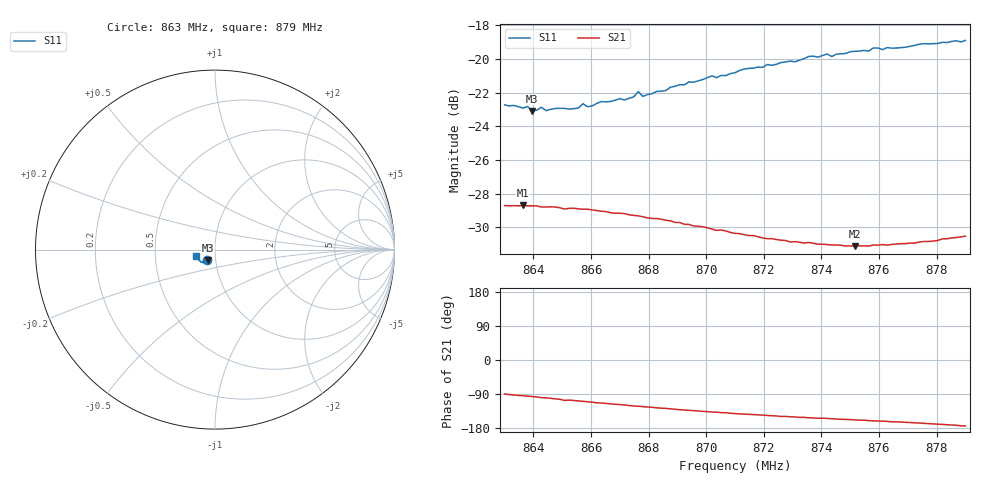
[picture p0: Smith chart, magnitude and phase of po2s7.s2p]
# HZ S RI R 50
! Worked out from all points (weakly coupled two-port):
!   101 points, 863 MHz to 879 MHz, reference 50 ohm
!   highest |S21| = -28.70 dB at 863.64 MHz (marker M1); lowest = -31.1 dB at 875.16 MHz (marker M2)
!   lowest |S11| = -23.1 dB at 863.96 MHz (marker M3), VSWR 1.15, Z = 46 - j5.39 ohm
!   |S11| at or under -10 dB: start of sweep to end of sweep
!   S12 and S22 are empty: the file has one direction only
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8.63e8  -0.0426 -0.0594  0.000206 -0.0367  0 0  0 0
8.6364e8  -0.041 -0.0586  -0.00267 -0.0366  0 0  0 0
8.638e8  -0.041 -0.0595  -0.00351 -0.0365  0 0  0 0
8.6396e8  -0.0389 -0.0583  -0.00406 -0.0364  0 0  0 0
8.6428e8  -0.0387 -0.0607  -0.0059 -0.0359  0 0  0 0
8.6444e8  -0.0379 -0.0592  -0.00622 -0.0358  0 0  0 0
8.6556e8  -0.0373 -0.061  -0.0111 -0.0341  0 0  0 0
8.6572e8  -0.0375 -0.0634  -0.0118 -0.0338  0 0  0 0
8.6588e8  -0.0365 -0.0623  -0.0123 -0.0336  0 0  0 0
8.6636e8  -0.0383 -0.0642  -0.0141 -0.0324  0 0  0 0
8.6716e8  -0.0369 -0.066  -0.0166 -0.0305  0 0  0 0
8.6748e8  -0.0379 -0.0673  -0.0179 -0.0293  0 0  0 0
8.6764e8  -0.0399 -0.0694  -0.0182 -0.029  0 0  0 0
8.678e8  -0.0387 -0.0671  -0.0185 -0.0285  0 0  0 0
8.6844e8  -0.0407 -0.0692  -0.0202 -0.0267  0 0  0 0
8.702e8  -0.0493 -0.0743  -0.023 -0.0211  0 0  0 0
8.71e8  -0.0542 -0.0732  -0.0237 -0.0189  0 0  0 0
8.7372e8  -0.0731 -0.0711  -0.0253 -0.0129  0 0  0 0
8.7436e8  -0.0763 -0.0673  -0.0254 -0.0118  0 0  0 0
8.7516e8  -0.0842 -0.0635  -0.0258 -0.0104  0 0  0 0
8.7644e8  -0.0922 -0.0558  -0.0269 -0.00819  0 0  0 0
8.79e8  -0.1077 -0.036  -0.0296 -0.00311  0 0  0 0
